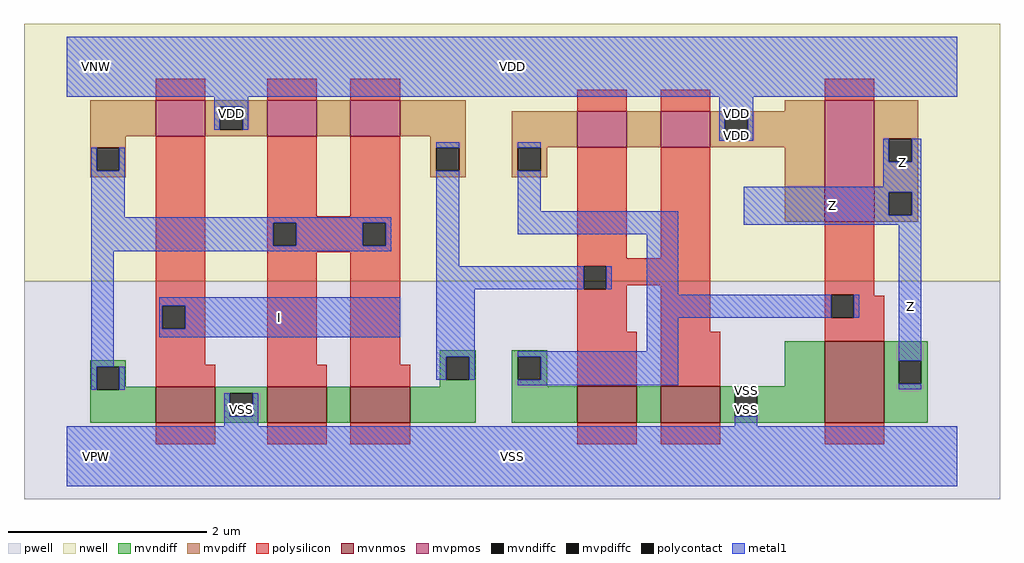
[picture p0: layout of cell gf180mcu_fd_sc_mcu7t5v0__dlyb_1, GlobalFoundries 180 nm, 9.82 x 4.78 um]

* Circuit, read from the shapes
.subckt gf180mcu_fd_sc_mcu7t5v0__dlyb_1 I Z VDD VNW VPW VSS
XM1 VSS I n1 VPW nfet_06v0 w=0.36u l=0.6u
XM2 n2 n1 VSS VPW nfet_06v0 w=0.36u l=0.6u
XM3 n3 n1 n2 VPW nfet_06v0 w=0.36u l=0.6u
XM4 n4 n3 n5 VPW nfet_06v0 w=0.365u l=0.6u
XM5 VSS n3 n4 VPW nfet_06v0 w=0.365u l=0.6u
XM6 Z n5 VSS VPW nfet_06v0 w=0.82u l=0.6u
XM7 VDD I n1 VNW pfet_06v0 w=0.36u l=0.5u
XM8 n6 n1 VDD VNW pfet_06v0 w=0.36u l=0.5u
XM9 n3 n1 n6 VNW pfet_06v0 w=0.36u l=0.5u
XM10 n7 n3 n5 VNW pfet_06v0 w=0.36u l=0.5u
XM11 VDD n3 n7 VNW pfet_06v0 w=0.36u l=0.5u
XM12 Z n5 VDD VNW pfet_06v0 w=1.22u l=0.5u
.ends

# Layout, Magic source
magic
tech gf180mcuD
magscale 1 10
<< nwell >>
rect -86 352 1878 870
<< pwell >>
rect -86 -86 1878 352
<< mvnmos >>
rect 179 68 299 140
rect 403 68 523 140
rect 571 68 691 140
rect 1027 68 1147 141
rect 1195 68 1315 141
rect 1525 68 1645 232
<< mvpmos >>
rect 179 644 279 716
rect 403 644 503 716
rect 571 644 671 716
rect 1027 622 1127 694
rect 1195 622 1295 694
rect 1525 472 1625 716
<< mvndiff >>
rect 47 180 119 193
rect 47 134 60 180
rect 106 140 119 180
rect 751 200 823 213
rect 751 154 764 200
rect 810 154 823 200
rect 751 140 823 154
rect 106 134 179 140
rect 47 68 179 134
rect 299 127 403 140
rect 299 81 328 127
rect 374 81 403 127
rect 299 68 403 81
rect 523 68 571 140
rect 691 68 823 140
rect 895 200 967 213
rect 895 154 908 200
rect 954 154 967 200
rect 895 141 967 154
rect 1445 141 1525 232
rect 895 68 1027 141
rect 1147 68 1195 141
rect 1315 127 1525 141
rect 1315 81 1344 127
rect 1390 81 1525 127
rect 1315 68 1525 81
rect 1645 192 1733 232
rect 1645 146 1674 192
rect 1720 146 1733 192
rect 1645 68 1733 146
<< mvpdiff >>
rect 47 644 179 716
rect 279 703 403 716
rect 279 657 308 703
rect 354 657 403 703
rect 279 644 403 657
rect 503 644 571 716
rect 671 644 803 716
rect 1445 694 1525 716
rect 47 621 119 644
rect 47 575 60 621
rect 106 575 119 621
rect 47 562 119 575
rect 731 621 803 644
rect 731 575 744 621
rect 790 575 803 621
rect 731 562 803 575
rect 895 622 1027 694
rect 1127 622 1195 694
rect 1295 681 1525 694
rect 1295 635 1324 681
rect 1370 635 1525 681
rect 1295 622 1525 635
rect 895 621 967 622
rect 895 575 908 621
rect 954 575 967 621
rect 895 562 967 575
rect 1445 472 1525 622
rect 1625 639 1713 716
rect 1625 593 1654 639
rect 1700 593 1713 639
rect 1625 531 1713 593
rect 1625 485 1654 531
rect 1700 485 1713 531
rect 1625 472 1713 485
<< mvndiffc >>
rect 60 134 106 180
rect 764 154 810 200
rect 328 81 374 127
rect 908 154 954 200
rect 1344 81 1390 127
rect 1674 146 1720 192
<< mvpdiffc >>
rect 308 657 354 703
rect 60 575 106 621
rect 744 575 790 621
rect 1324 635 1370 681
rect 908 575 954 621
rect 1654 593 1700 639
rect 1654 485 1700 531
<< polysilicon >>
rect 179 716 279 760
rect 403 716 503 760
rect 571 716 671 760
rect 1027 694 1127 738
rect 1195 694 1295 738
rect 1525 716 1625 760
rect 179 303 279 644
rect 179 257 192 303
rect 238 257 279 303
rect 179 184 279 257
rect 403 483 503 644
rect 571 483 671 644
rect 403 470 671 483
rect 403 424 416 470
rect 462 424 596 470
rect 642 424 671 470
rect 403 411 671 424
rect 403 184 503 411
rect 571 184 671 411
rect 1027 399 1127 622
rect 1195 399 1295 622
rect 1027 382 1295 399
rect 1027 336 1040 382
rect 1086 344 1295 382
rect 1086 336 1127 344
rect 1027 251 1127 336
rect 1195 251 1295 344
rect 1525 325 1625 472
rect 1525 279 1538 325
rect 1584 323 1625 325
rect 1584 279 1645 323
rect 179 140 299 184
rect 403 140 523 184
rect 571 140 691 184
rect 1027 141 1147 251
rect 1195 141 1315 251
rect 1525 232 1645 279
rect 179 24 299 68
rect 403 24 523 68
rect 571 24 691 68
rect 1027 24 1147 68
rect 1195 24 1315 68
rect 1525 24 1645 68
<< polycontact >>
rect 192 257 238 303
rect 416 424 462 470
rect 596 424 642 470
rect 1040 336 1086 382
rect 1538 279 1584 325
<< metal1 >>
rect 0 724 1792 844
rect 297 703 365 724
rect 297 657 308 703
rect 354 657 365 703
rect 1313 681 1381 724
rect 1313 635 1324 681
rect 1370 635 1381 681
rect 744 621 790 632
rect 49 575 60 621
rect 106 575 117 621
rect 49 481 117 575
rect 49 470 653 481
rect 49 424 416 470
rect 462 424 596 470
rect 642 424 653 470
rect 49 413 653 424
rect 49 180 95 413
rect 744 382 790 575
rect 908 621 954 632
rect 908 493 954 575
rect 1643 593 1654 639
rect 1700 593 1720 639
rect 1643 542 1720 593
rect 1362 531 1720 542
rect 908 447 1231 493
rect 1362 485 1654 531
rect 1700 485 1720 531
rect 1362 466 1720 485
rect 744 336 1040 382
rect 1086 336 1097 382
rect 186 303 671 320
rect 186 257 192 303
rect 238 257 671 303
rect 186 240 671 257
rect 744 200 821 336
rect 1167 325 1231 447
rect 1167 279 1538 325
rect 1584 279 1595 325
rect 1167 211 1231 279
rect 49 134 60 180
rect 106 134 117 180
rect 744 154 764 200
rect 810 154 821 200
rect 908 200 1231 211
rect 954 154 1231 200
rect 908 143 1231 154
rect 1674 192 1720 466
rect 1344 127 1390 138
rect 1674 135 1720 146
rect 317 81 328 127
rect 374 81 385 127
rect 317 60 385 81
rect 1344 60 1390 81
rect 0 -60 1792 60
<< labels >>
flabel metal1 s 0 724 1792 844 0 FreeSans 400 0 0 0 VDD
port 3 nsew power bidirectional abutment
flabel metal1 s 186 240 671 320 0 FreeSans 400 0 0 0 I
port 1 nsew default input
flabel metal1 s 1344 127 1390 138 0 FreeSans 400 0 0 0 VSS
port 6 nsew ground bidirectional abutment
flabel metal1 s 1643 542 1720 639 0 FreeSans 400 0 0 0 Z
port 2 nsew default output
flabel nwell s 10 734 110 834 0 FreeSans 400 0 0 0 VNW
port 4 nsew power bidirectional
flabel pwell s 10 -50 110 50 0 FreeSans 400 0 0 0 VPW
port 5 nsew ground bidirectional
rlabel metal1 s 1362 466 1720 542 1 Z
port 2 nsew default output
rlabel metal1 s 1674 135 1720 466 1 Z
port 2 nsew default output
rlabel metal1 s 1313 657 1381 724 1 VDD
port 3 nsew power bidirectional abutment
rlabel metal1 s 297 657 365 724 1 VDD
port 3 nsew power bidirectional abutment
rlabel metal1 s 1313 635 1381 657 1 VDD
port 3 nsew power bidirectional abutment
rlabel metal1 s 1344 60 1390 127 1 VSS
port 6 nsew ground bidirectional abutment
rlabel metal1 s 317 60 385 127 1 VSS
port 6 nsew ground bidirectional abutment
rlabel metal1 s 0 -60 1792 60 1 VSS
port 6 nsew ground bidirectional abutment
<< properties >>
string FIXED_BBOX 0 0 1792 784
string GDS_END 1094044
string GDS_FILE $PDKPATH/libs.ref/gf180mcu_fd_sc_mcu7t5v0/gds/gf180mcu_fd_sc_mcu7t5v0.gds
string GDS_START 1090088
string LEFclass core
string LEFsite GF018hv5v_mcu_sc7
string LEFsymmetry X Y
<< end >>
